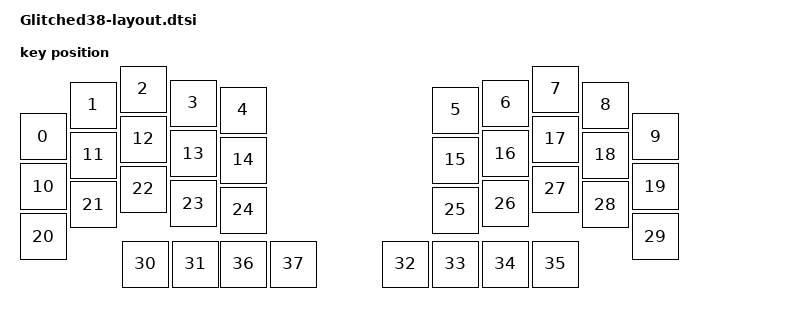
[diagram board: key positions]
#include <physical_layouts.dtsi>

/ {
    physical_layout_glitched_38: physical_layout_glitched_38 {
        compatible = "zmk,physical-layout";
        display-name = "Glitched 38";
        keys  //                     w   h    x    y     rot    rx    ry
            = <&key_physical_attrs 100 100    0   95       0     0    95>
            , <&key_physical_attrs 100 100  100   32       0   100    32>
            , <&key_physical_attrs 100 100  200    0       0   200     0>
            , <&key_physical_attrs 100 100  300   28       0   300    28>
            , <&key_physical_attrs 100 100  400   42       0   400    42>
            , <&key_physical_attrs 100 100  825   42       0   825    42>
            , <&key_physical_attrs 100 100  925   28       0   925    28>
            , <&key_physical_attrs 100 100 1025    0       0  1025     0>
            , <&key_physical_attrs 100 100 1125   32       0  1125    32>
            , <&key_physical_attrs 100 100 1225   95       0  1225    95>
            , <&key_physical_attrs 100 100    0  195       0     0   195>
            , <&key_physical_attrs 100 100  100  132       0   100   132>
            , <&key_physical_attrs 100 100  200  100       0   200   100>
            , <&key_physical_attrs 100 100  300  129       0   300   129>
            , <&key_physical_attrs 100 100  400  142       0   400   142>
            , <&key_physical_attrs 100 100  825  142       0   825   142>
            , <&key_physical_attrs 100 100  925  129       0   925   129>
            , <&key_physical_attrs 100 100 1025  100       0  1025   100>
            , <&key_physical_attrs 100 100 1125  132       0  1125   132>
            , <&key_physical_attrs 100 100 1225  195       0  1225   195>
            , <&key_physical_attrs 100 100    0  295       0     0   295>
            , <&key_physical_attrs 100 100  100  231       0   100   231>
            , <&key_physical_attrs 100 100  200  200       0   200   200>
            , <&key_physical_attrs 100 100  300  229       0   300   229>
            , <&key_physical_attrs 100 100  400  242       0   400   242>
            , <&key_physical_attrs 100 100  825  242       0   825   242>
            , <&key_physical_attrs 100 100  925  229       0   925   229>
            , <&key_physical_attrs 100 100 1025  200       0  1025   200>
            , <&key_physical_attrs 100 100 1125  231       0  1125   231>
            , <&key_physical_attrs 100 100 1225  295       0  1225   295>
            , <&key_physical_attrs 100 100  205  350       0   305   455>
            , <&key_physical_attrs 100 100  305  350       0   305   455>
            , <&key_physical_attrs 100 100  725  350       0   845   455>
            , <&key_physical_attrs 100 100  825  350       0   845   455>
            , <&key_physical_attrs 100 100  925  350       0   925   350>
            , <&key_physical_attrs 100 100 1025  350       0  1025   350>
            , <&key_physical_attrs 100 100  400  350       0   400   350>
            , <&key_physical_attrs 100 100  500  350       0   500   350>
            ;
    };
};
